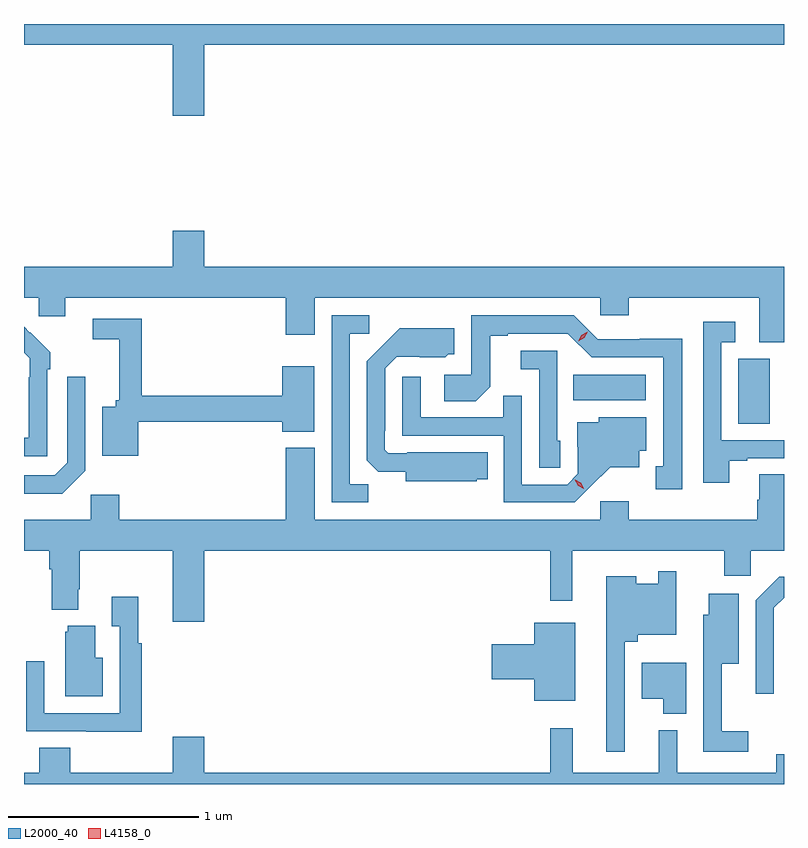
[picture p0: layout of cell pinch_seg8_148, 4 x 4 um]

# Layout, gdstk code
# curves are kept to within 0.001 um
import gdstk
lib = gdstk.Library(unit=1e-6, precision=1e-09)
def R(c, l, rs):  # rectangles x0, y0, x1, y1
    for r in rs: c.add(gdstk.rectangle(r[:2], r[2:], *l))
def P(c, l, *ps):  # polygons
    for p in ps: c.add(gdstk.Polygon(p, *l))
L2000_40 = (2000, 40)
L4158_0 = (4158, 0)

pinch_seg8_148 = lib.new_cell('pinch_seg8_148')
R(pinch_seg8_148, L2000_40, [(707.444,1149.136,707.608,1149.48), (706.576,1149.26,706.957,1149.394)])
P(pinch_seg8_148, L2000_40, [(704.632,1151.132),(707.684,1151.132),(707.684,1151.241),(703.684,1151.241),(703.684,1151.132),(704.468,1151.132),(704.468,1150.758),(704.632,1150.758)],
  [(704.632,1150.153),(704.468,1150.153),(704.468,1149.964),(703.684,1149.964),(703.684,1149.8),(703.761,1149.8),(703.761,1149.702),(703.9,1149.702),(703.9,1149.8),(705.062,1149.8),(705.062,1149.606),(705.214,1149.606),(705.214,1149.8),(706.716,1149.8),(706.716,1149.707),(706.868,1149.707),(706.868,1149.8),(707.555,1149.8),(707.555,1149.565),(707.684,1149.565),(707.684,1149.964),(704.632,1149.964)],
  [(705.495,1148.819),(705.399,1148.819),(705.399,1149.612),(705.502,1149.612),(705.502,1149.708),(705.303,1149.708),(705.303,1148.724),(705.495,1148.724)],
  [(707.149,1149.584),(706.926,1149.584),(706.926,1149.582),(706.704,1149.582),(706.578,1149.708),(706.038,1149.708),(706.038,1149.396),(705.897,1149.396),(705.897,1149.256),(706.061,1149.256),(706.137,1149.332),(706.137,1149.6),(706.231,1149.6),(706.231,1149.612),(706.545,1149.612),(706.671,1149.486),(707.048,1149.486),(707.048,1148.913),(707.009,1148.913),(707.009,1148.793),(707.149,1148.793)],
  [(704.284,1149.148),(705.044,1149.148),(705.044,1149.095),(705.211,1149.095),(705.211,1149.439),(705.044,1149.439),(705.044,1149.284),(704.303,1149.284),(704.303,1149.69),(704.046,1149.69),(704.046,1149.582),(704.186,1149.582),(704.186,1149.261),(704.168,1149.261),(704.168,1149.226),(704.096,1149.226),(704.096,1148.969),(704.284,1148.969)],
  [(707.395,1148.943),(707.491,1148.943),(707.491,1148.955),(707.684,1148.955),(707.684,1149.051),(707.355,1149.051),(707.355,1149.567),(707.428,1149.567),(707.428,1149.673),(707.259,1149.673),(707.259,1148.826),(707.395,1148.826)],
  [(703.806,1149.425),(703.821,1149.425),(703.821,1149.513),(703.716,1149.618),(703.715,1149.617),(703.684,1149.648),(703.684,1149.512),(703.713,1149.483),(703.713,1149.383),(703.71,1149.383),(703.71,1149.063),(703.684,1149.063),(703.684,1148.967),(703.806,1148.967)],
  [(706.068,1148.846),(706.124,1148.846),(706.124,1148.986),(705.7,1148.986),(705.7,1148.982),(705.6,1148.982),(705.582,1149),(705.582,1149.1),(705.585,1149.1),(705.585,1149.429),(705.645,1149.489),(705.902,1149.488),(705.918,1149.504),(705.949,1149.504),(705.949,1149.64),(705.661,1149.64),(705.489,1149.466),(705.489,1148.944),(705.548,1148.885),(705.692,1148.885),(705.692,1148.834),(706.068,1148.834)],
  [(706.506,1149.048),(706.491,1149.048),(706.491,1149.522),(706.299,1149.522),(706.299,1149.425),(706.395,1149.425),(706.395,1148.905),(706.506,1148.905)],
  [(704.007,1148.889),(704.007,1149.385),(703.911,1149.385),(703.911,1148.931),(703.845,1148.865),(703.684,1148.865),(703.684,1148.768),(703.886,1148.768)],
  [(706.666,1148.807),(706.769,1148.909),(706.921,1148.909),(706.921,1148.996),(706.96,1148.996),(706.96,1149.172),(706.71,1149.172),(706.71,1149.145),(706.595,1149.145),(706.595,1149.016),(706.599,1149.016),(706.599,1148.874),(706.542,1148.817),(706.305,1148.817),(706.305,1149.284),(706.207,1149.284),(706.207,1149.171),(705.771,1149.171),(705.771,1149.385),(705.675,1149.385),(705.675,1149.075),(706.209,1149.075),(706.209,1148.724),(706.582,1148.724)],
  [(704.632,1148.468),(706.453,1148.468),(706.453,1148.205),(706.57,1148.205),(706.57,1148.468),(707.369,1148.468),(707.369,1148.337),(707.508,1148.337),(707.508,1148.468),(707.684,1148.468),(707.684,1148.87),(707.555,1148.87),(707.555,1148.738),(707.543,1148.738),(707.543,1148.632),(706.868,1148.632),(706.868,1148.728),(706.716,1148.728),(706.716,1148.632),(705.214,1148.632),(705.214,1149.01),(705.062,1149.01),(705.062,1148.632),(704.186,1148.632),(704.186,1148.764),(704.034,1148.764),(704.034,1148.632),(703.684,1148.632),(703.684,1148.468),(703.817,1148.468),(703.817,1148.372),(703.829,1148.372),(703.829,1148.159),(703.969,1148.159),(703.969,1148.266),(703.977,1148.266),(703.977,1148.468),(704.468,1148.468),(704.468,1148.094),(704.632,1148.094)],
  [(706.845,1147.991),(706.914,1147.991),(706.914,1148.027),(707.118,1148.027),(707.118,1148.362),(707.022,1148.362),(707.022,1148.296),(706.906,1148.296),(706.906,1148.335),(706.748,1148.335),(706.748,1147.41),(706.845,1147.41)],
  [(707.631,1148.169),(707.684,1148.222),(707.684,1148.332),(707.658,1148.332),(707.535,1148.209),(707.535,1147.716),(707.631,1147.716)],
  [(707.497,1147.519),(707.357,1147.519),(707.357,1147.874),(707.446,1147.874),(707.446,1148.242),(707.288,1148.242),(707.288,1148.131),(707.259,1148.131),(707.259,1147.41),(707.497,1147.41)],
  [(704.303,1147.982),(704.285,1147.982),(704.285,1148.227),(704.147,1148.227),(704.147,1148.071),(704.187,1148.071),(704.187,1147.614),(703.791,1147.614),(703.791,1147.888),(703.695,1147.888),(703.695,1147.518),(704.011,1147.518),(704.011,1147.517),(704.303,1147.517)],
  [(706.585,1148.089),(706.37,1148.089),(706.37,1147.976),(706.146,1147.976),(706.146,1147.793),(706.37,1147.793),(706.37,1147.679),(706.585,1147.679)],
  [(704.098,1147.906),(704.059,1147.906),(704.059,1148.074),(703.913,1148.074),(703.913,1148.043),(703.901,1148.043),(703.901,1147.703),(704.098,1147.703)],
  [(707.17,1147.879),(706.934,1147.879),(706.934,1147.691),(707.048,1147.691),(707.048,1147.61),(707.17,1147.61)],
  [(707.684,1147.398),(707.642,1147.398),(707.642,1147.3),(707.122,1147.3),(707.122,1147.525),(707.024,1147.525),(707.024,1147.3),(706.571,1147.3),(706.571,1147.534),(706.453,1147.534),(706.453,1147.3),(704.632,1147.3),(704.632,1147.489),(704.468,1147.489),(704.468,1147.3),(703.928,1147.3),(703.928,1147.433),(703.763,1147.433),(703.763,1147.3),(703.684,1147.3),(703.684,1147.241),(707.684,1147.241)])
P(pinch_seg8_148, L4158_0, [(706.601,1149.57),(706.601,1149.57),(706.618,1149.603),(706.65,1149.621),(706.65,1149.621),(706.65,1149.621),(706.633,1149.589),(706.601,1149.57)],
  [(706.631,1148.796),(706.6,1148.812),(706.583,1148.842),(706.583,1148.842),(706.584,1148.842),(706.614,1148.826),(706.631,1148.797),(706.631,1148.796)])

lib.write_gds('pinch_seg8_148.gds')
